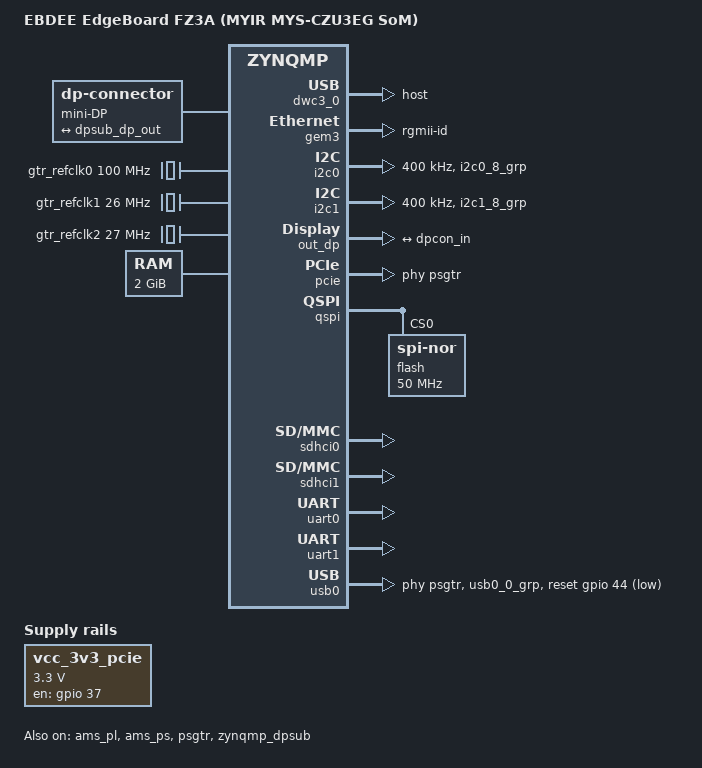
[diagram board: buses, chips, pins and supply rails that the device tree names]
// SPDX-License-Identifier: GPL-2.0
/*
 * Device tree for EBDEE EdgeBoard FZ3A carrier board
 * populated with the MYIR MYS-CZU3EG SoM
 * (Xilinx ZynqMP XCZU3EG, quad Cortex-A53 + PL, 2GB DDR4, 8GB eMMC).
 *
 * Copyright (c) 2026 Pufan Jin
 */

/dts-v1/;
#include <dt-bindings/gpio/gpio.h>
#include <dt-bindings/interrupt-controller/arm-gic.h>
#include <dt-bindings/phy/phy.h>
#include <dt-bindings/pinctrl/pinctrl-zynqmp.h>
#include "zynqmp.dtsi"
#include "zynqmp-clk-ccf.dtsi"

/ {
	model = "EBDEE EdgeBoard FZ3A (MYIR MYS-CZU3EG SoM)";
	compatible = "ebdee,edgeboard-fz3a", "xlnx,zynqmp";

	aliases {
		ethernet0 = &gem3;
		i2c0 = &i2c0;
		i2c1 = &i2c1;
		mmc0 = &sdhci0;
		mmc1 = &sdhci1;
		serial0 = &uart1;
		serial1 = &uart0;
		spi0 = &qspi;
		usb0 = &usb0;
	};

	chosen {
		stdout-path = "serial0:115200n8";
	};

	dpcon: connector {
		compatible = "dp-connector";
		label = "mini-DP";
		type = "mini";

		port {
			dpcon_in: endpoint {
				remote-endpoint = <&dpsub_dp_out>;
			};
		};
	};

	dp_aclk: clock-dp-aclk {
		compatible = "fixed-clock";
		#clock-cells = <0>;
		clock-frequency = <100000000>;
	};

	gtr_refclk0: clock-gtr-ref0 {
		compatible = "fixed-clock";
		#clock-cells = <0>;
		clock-frequency = <100000000>;
	};

	gtr_refclk1: clock-gtr-ref1 {
		compatible = "fixed-clock";
		#clock-cells = <0>;
		clock-frequency = <26000000>;
	};

	gtr_refclk2: clock-gtr-ref2 {
		compatible = "fixed-clock";
		#clock-cells = <0>;
		clock-frequency = <27000000>;
	};

	/*
	 * The PM firmware on this ZU3EG does not report the LPD_LSBUS
	 * clock id as valid, so <&zynqmp_clk LPD_LSBUS> resolves to no
	 * clock at all and drivers that require their bus clock fail to
	 * probe.
	 */
	lpd_lsbus: clock-lpd-lsbus {
		compatible = "fixed-clock";
		#clock-cells = <0>;
		clock-frequency = <100000000>;
	};

	memory@0 {
		device_type = "memory";
		reg = <0x0 0x0 0x0 0x7ff00000>;
	};

	vcc_3v3_pcie: regulator-pcie {
		compatible = "regulator-fixed";
		regulator-name = "pcie-reset";
		regulator-min-microvolt = <3300000>;
		regulator-max-microvolt = <3300000>;
		gpios = <&gpio 37 GPIO_ACTIVE_HIGH>;
		enable-active-high;
		regulator-always-on;
		regulator-boot-on;
	};

	reserved_memory: reserved-memory {
		#address-cells = <2>;
		#size-cells = <2>;
		ranges;

		linux_cma: cma {
			compatible = "shared-dma-pool";
			reusable;
			alloc-ranges = <0x0 0x0 0x0 0x80000000>;
			size = <0x0 0x20000000>;	/* 512MB */
			linux,cma-default;
		};
	};
};

&ams_pl {
	status = "okay";
};

&ams_ps {
	status = "okay";
};

&dwc3_0 {
	dr_mode = "host";
	maximum-speed = "super-speed";
	snps,dis_enblslpm_quirk;
	snps,dis_u2_susphy_quirk;
	snps,hsphy_interface = "ulpi";
	snps,usb3_lpm_capable;
	status = "okay";
};

&gem3 {
	clocks = <&lpd_lsbus>, <&zynqmp_clk GEM3_REF>,
		 <&zynqmp_clk GEM3_TX>, <&zynqmp_clk GEM3_RX>,
		 <&zynqmp_clk GEM_TSU>;
	phy-mode = "rgmii-id";
	status = "okay";
};

&gpio {
	status = "okay";
};

&i2c0 {
	clock-frequency = <400000>;
	pinctrl-names = "default";
	pinctrl-0 = <&pinctrl_i2c0_default>;
	status = "okay";
};

&i2c1 {
	clock-frequency = <400000>;
	pinctrl-names = "default";
	pinctrl-0 = <&pinctrl_i2c1_default>;
	status = "okay";
};

&out_dp {
	dpsub_dp_out: endpoint {
		remote-endpoint = <&dpcon_in>;
	};
};

&pcie {
	phys = <&psgtr 0 PHY_TYPE_PCIE 0 0>;

	status = "okay";
};

&pinctrl0 {
	status = "okay";

	pinctrl_i2c0_default: i2c0-default {
		conf {
			bias-pull-up;
			groups = "i2c0_8_grp";
		};

		mux {
			function = "i2c0";
			groups = "i2c0_8_grp";
		};
	};

	pinctrl_i2c1_default: i2c1-default {
		conf {
			bias-pull-up;
			groups = "i2c1_8_grp";
		};

		mux {
			function = "i2c1";
			groups = "i2c1_8_grp";
		};
	};

	pinctrl_usb0_default: usb0-default {
		mux {
			function = "usb0";
			groups = "usb0_0_grp";
		};
	};
};

&psgtr {
	clocks = <&gtr_refclk0>, <&gtr_refclk1>, <&gtr_refclk2>;
	clock-names = "ref0", "ref1", "ref2";

	status = "okay";
};

&qspi {
	num-cs = <1>;
	status = "okay";

	flash: flash@0 {
		#address-cells = <1>;
		#size-cells = <1>;
		compatible = "jedec,spi-nor";
		reg = <0x0>;
		spi-max-frequency = <50000000>;
		spi-rx-bus-width = <4>;
		spi-tx-bus-width = <1>;
	};
};

&sdhci0 {
	no-1-8-v;
	status = "okay";
};

&sdhci1 {
	disable-wp;
	no-1-8-v;
	status = "okay";
};

&uart0 {
	status = "okay";
};

&uart1 {
	status = "okay";
};

&usb0 {
	phy-names = "usb3-phy";
	phys = <&psgtr 1 PHY_TYPE_USB3 0 1>;
	pinctrl-names = "default";
	pinctrl-0 = <&pinctrl_usb0_default>;
	reset-gpios = <&gpio 44 GPIO_ACTIVE_LOW>;

	status = "okay";
};

&zynqmp_dpdma {
	status = "okay";
};

&zynqmp_dpsub {
	clocks = <&dp_aclk>,
		 <&zynqmp_clk DP_AUDIO_REF>,
		 <&zynqmp_clk DP_VIDEO_REF>;
	clock-names = "dp_apb_clk", "dp_aud_clk", "dp_vtc_pixel_clk_in";
	phy-names = "dp-phy0", "dp-phy1";
	phys = <&psgtr 3 PHY_TYPE_DP 0 2>,
	       <&psgtr 2 PHY_TYPE_DP 1 2>;
	status = "okay";
};
